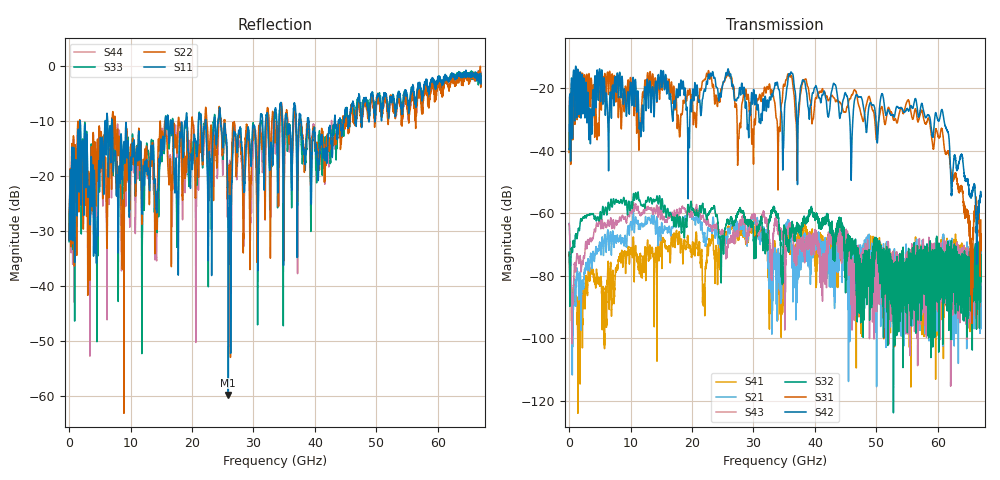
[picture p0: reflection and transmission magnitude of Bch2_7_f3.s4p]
!Agilent Technologies,N5247A,US51170199,A.09.90.13
!Agilent N5247A: A.09.90.13
!Date: Thursday, October 18, 2018 10:07:24
!Correction: S11(Full 4 Port(1,2,3,4))
!S12(Full 4 Port(1,2,3,4))
!S13(Full 4 Port(1,2,3,4))
!S14(Full 4 Port(1,2,3,4))
!S21(Full 4 Port(1,2,3,4))
!S22(Full 4 Port(1,2,3,4))
!S23(Full 4 Port(1,2,3,4))
!S24(Full 4 Port(1,2,3,4))
!S31(Full 4 Port(1,2,3,4))
!S32(Full 4 Port(1,2,3,4))
!S33(Full 4 Port(1,2,3,4))
!S34(Full 4 Port(1,2,3,4))
!S41(Full 4 Port(1,2,3,4))
!S42(Full 4 Port(1,2,3,4))
!S43(Full 4 Port(1,2,3,4))
!S44(Full 4 Port(1,2,3,4))
!S4P File: Measurements: <S11,S12,S13,S14>,
!<S21,S22,S23,S24>,
!<S31,S32,S33,S34>,
!<S41,S42,S43,S44>:
# Hz S  dB  R 50
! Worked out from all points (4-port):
!   6701 points, 10 MHz to 67 GHz, reference 50 ohm
!   strongest paths, dB at 10 MHz, 16.76 GHz, 33.51 GHz, 50.25 GHz, 67 GHz:
!     S42: -39.5, -28.6, -18.4, -34.5, -54.0
!     S31: -40.5, -21.7, -25.1, -31.9, -62.1
!     S32: -72.4, -62.0, -59.2, -75.8, -79.0
!     S43: -63.3, -59.6, -62.2, -69.1, -74.9
!     S21: -63.2, -64.4, -71.0, -80.1, -83.1
!     S41: -72.7, -68.5, -71.1, -77.5, -77.2
!   lowest |S11| = -59.8 dB at 25.91 GHz (marker M1), VSWR 1.00, Z = 50 + j0.0928 ohm
!   |S11| at or under -10 dB: 7.028 GHz to 15.65 GHz (8.622 GHz wide, 76 % of centre); 24.66 GHz to 31.12 GHz (6.453 GHz wide, 23.1 % of centre); 38.98 GHz to 43.16 GHz (4.185 GHz wide, 10.2 % of centre)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
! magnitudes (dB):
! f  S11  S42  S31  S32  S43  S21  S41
! 10 MHz  -31.7  -39.5  -40.5  -72.4  -63.3  -63.2  -72.7
! 11 GHz  -15.1  -27.5  -34.4  -55.3  -58.9  -63.0  -73.9
! 24.47 GHz  -7.8  -23.1  -24.2  -67.9  -65.5  -68.9  -76.4
! 25.91 GHz  -59.8  -13.9  -15.7  -62.9  -68.9  -64.8  -64.2
! 27.66 GHz  -12.0  -21.3  -35.0  -59.1  -64.2  -64.6  -67.5
! 55.14 GHz  -7.0  -26.8  -23.7  -78.1  -74.6  -82.6  -74.6
! 67 GHz  -3.2  -54.0  -62.1  -79.0  -74.9  -83.1  -77.2
